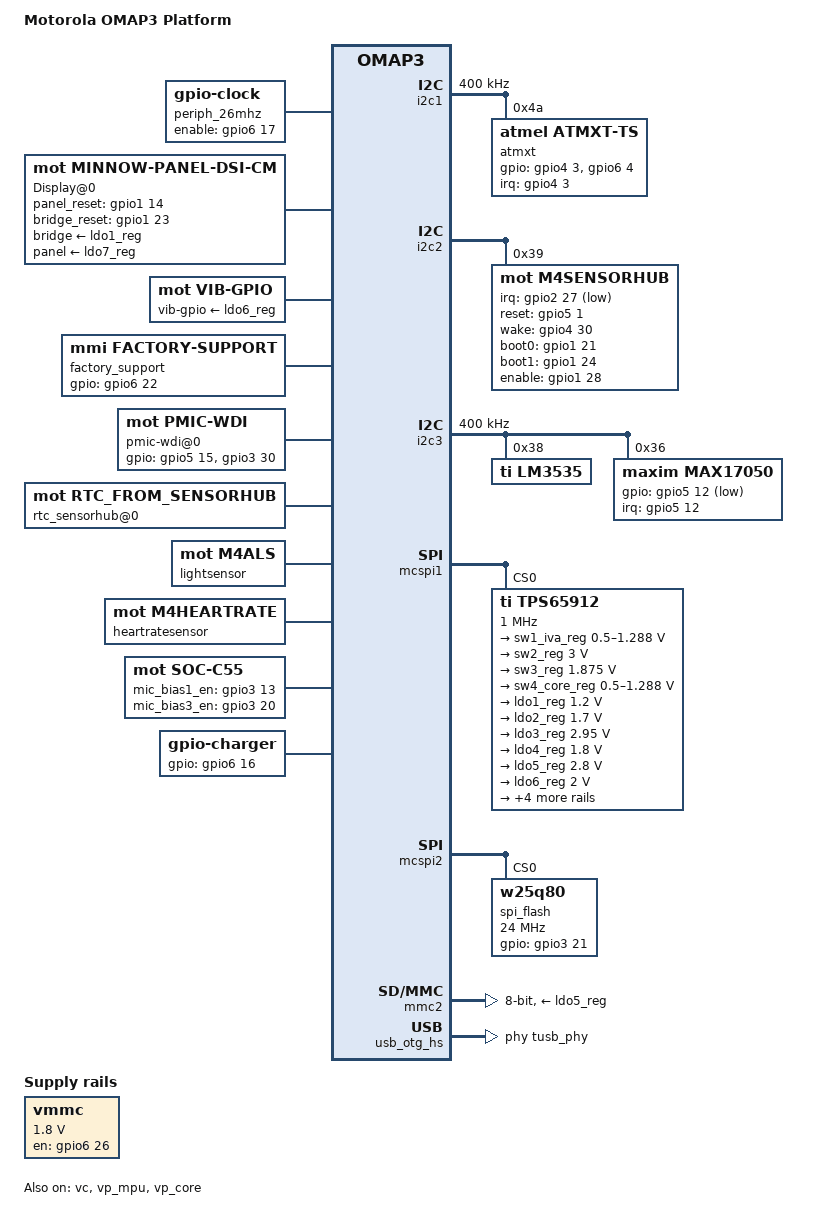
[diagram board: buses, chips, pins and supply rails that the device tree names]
/*
 * Copyright (C) 2013 Motorola Mobility LLC
 *
 * This program is free software; you can redistribute it and/or modify
 * it under the terms of the GNU General Public License version 2 as
 * published by the Free Software Foundation.
 */
/* reserve memory for ram_console */
/memreserve/ 0x83000000 0x20000; /* IMAGE_DOWN_LOAD_ADDR */

/include/ "omap36xx.dtsi"

/ {
	model = "Motorola OMAP3 Platform";
	compatible = "mot,omap3-minnow", "ti,omap3";

	ramoops {
		compatible = "ramoops";
		status = "ok";

		android,ramoops-buffer-start = <0x83000000>;
		android,ramoops-buffer-size  = <0x20000>;
		android,ramoops-console-size = <0x20000>;
	};

	cpus {
		cpu@0 {
			device_type = "cpu";
			operating-points = <
				/* kHz    uV */
				300000   975000
				600000  1150000
				800000  1275000
			>;
			cpu0-supply = <&omap_tps65912_dcdc1>;
			/* OPP tolerance in percentage */
			voltage-tolerance = <0>;
			reset-voltage = <1275000>;
		};
	};

	regulators {
		compatible = "simple-bus";

		vmmc: gpio-regulator {
			compatible = "regulator-fixed";

			regulator-min-microvolt = <1800000>;
			regulator-max-microvolt = <1800000>;
			regulator-name = "vmmc";
			gpio = <&gpio6 26 0>;
			startup-delay-us = <70000>;
			enable-active-high;
		};
	};

	/* external 26MHz clock which is controlled by gpio
	 * it's used for both Display Bridge and USB
	 */
	periph_26mhz {
		compatible = "gpio-clock";
		#clock-cells = <0>;
		enable-gpios = <&gpio6 17 0>;  /* GPIO-177, OF_GPIO_ACTIVE_HIGH */
	};

	Display@0 {
		compatible = "mot,minnow-panel-dsi-cm";
		bridge-supply = <&ldo1_reg>;
		panel-supply = <&ldo7_reg>;
		/* 0: MINNOW_PANEL_CM_220X176
		 * 1: MINNOW_PANEL_CM_220X220
		 * 2: MINNOW_PANEL_CM_BRIDGE_320X320
		 */
		id_panel = <2>;
		gpio_panel_reset = <&gpio1 14 0>;       /* RESET gpio-14 */
		gpio_bridge_reset = <&gpio1 23 0>;      /* RESET gpio-23 */
		clk_in = "periph_26mhz";        /* external 26MHz clock */
		/* declare it if ext_te enable */
		//gpio_te = <&gpio1 0 0>;       /* EXT_TE gpio-0 */
		//pins = <0 1 2 3>;             /* DSI Pin config */
		//esd_interval = <0>;           /* ESD_INTERVAL */
		//pixel_clock = <4608>;         /* kHZ = 320*240*60/1000*/
		/* 0: RGB888
		 * 1: RGB666
		 * 2: RGB666_PACKED
		 * 3: RGB565
		 */
		//pixel_format = <1>;
		//hs_clk = <90000000 150000000>;        /* min max*/
		//lp_clk = <7000000 9000000>;   /* min max*/
	};

	c55-ctrl@0 {
		compatible = "ti,c55-ctrl";
		reg = <0 0>;
		gpios = <&gpio3 12 1>, /* IRQ   gpio_ap_int gpio-076 */
			<&gpio3 17 2>; /* gpio_c55_int gpio-81*/
		vddc-supply = <&ldo9_reg>;
		vddldo-supply = <&ldo3_reg>;
	};

	vib-gpio {
		compatible = "mot,vib-gpio";
		vib-gpio-supply = <&ldo6_reg>;
	};

	tusb_phy: tusb-usb@0 {
		compatible = "ti,tusb-usb";
		gpios = <&gpio5 14 0x1>,  /* IRQ gpio-142    GPIOF_DIR_IN */
			<&gpio1 15 0x0>,  /* resetn gpio-15  GPIOF_DIR_OUT|GPIOF_INIT_LOW */
			<&gpio1 16 0x0>,  /* cs gpio-16      GPIOF_DIR_OUT|GPIOF_INIT_LOW */
			<&gpio1 27 0x2>;  /* cs gpio-27      GPIOF_DIR_OUT|GPIOF_INIT_HIGH */
		gpio-names = "tusb-irq",
			     "tusb-resetn",
			     "tusb-cs",
			     "tusb-csn";
		clk_in = "periph_26mhz";  /* external 26MHz clock */
		reg = <0 0>;
	};

	/* Temporary enable factory-cable in device-tree
	 * Should remove it when boot-reason is implemented in boot-loader
	 */
	chosen {
		mmi,factory-cable;
	};
	factory_support {
		compatible = "mmi,factory-support";

		gpios = <&gpio6 22 0x0>; /*gpio-182 GPIOF_DIR_OUT|GPIOF_INIT_LOW */
		gpio-names = "factory_kill_disable";
	};

	pmic-wdi@0 {
		compatible = "mot,pmic-wdi";
		gpios  = <&gpio5 15 0x0>, /* gpio-143 GPIOF_DIR_OUT|GPIOF_INIT_LOW */
			 <&gpio3 30 0x0>; /* gpio-94  GPIOF_DIR_OUT|GPIOF_INIT_LOW */
		gpio-names = "wdi",
			     "sys_reset";
		pinctrl-names = "output", "tristate";
		pinctrl-0 = <&wdi_phy_gpio_mode>;
		pinctrl-1 = <&wdi_phy_safe_mode>;
	};

	rtc_sensorhub@0 {
		compatible = "mot,rtc_from_sensorhub";
	};

	m4sensor {
		compatible = "simple-bus";

		mpu9150 {
			compatible = "mot,m4mpu9150";
		};
		pedometer {
			compatible = "mot,m4pedometer";
		};
		passive {
			compatible = "mot,m4passive";
		};
		gesture {
			compatible = "mot,m4gesture";
		};
		display {
			compatible = "mot,m4display";
		};
		download {
			compatible = "mot,m4download";
		};
		stillmode {
			compatible = "mot,m4stillmode";
		};
		lightsensor {
			compatible = "mot,m4als";
		};
                heartratesensor {
                        compatible = "mot,m4heartrate";
                };

	};

	sound {
		compatible = "mot,omap-soc-c55";
		mot,model = "omap3c55audio";
		mot,mcbsp = <&mcbsp4>;
	};

	soc {

		compatible = "mot,soc-c55";
		mot,mic_bias1_en = <&gpio3 13 0>; /* gpio-077 */
		mot,mic_bias3_en = <&gpio3 20 0>; /* gpio-084 */
	};

	omap_pimic {
		omap_tps65912_dcdc1: omap_vdd1 {
			compatible = "ti,omap-tps65912-dcdc1";
			ti,boot-voltage-micro-volts = <1275000>;
			ti,vp = <&vp_mpu>;
		};

		omap_tps65912_dcdc4: omap_vdd2 {
			compatible = "ti,omap-tps65912-dcdc4";
			ti,boot-voltage-micro-volts = <1200000>;
			ti,vp = <&vp_core>;
		};
	};

	gpio-charger {
		compatible = "gpio-charger";
		pinctrl-names = "default";
		pinctrl-0 = <&charge_startb_pin>;	/* gpio-176 pin */
		gpio = <&gpio6 16 0>;			/* gpio-176 */
		charger-type = <8>;			/* POWER_SUPPLY_TYPE_WIRELESS */
		charger-name = "wireless";
		supplied_to = "max170xx_battery";
		switch-name = "dock";
	};
};

&vc {
	status = "ok";
	ti,i2c-high-speed;
	ti,i2c-pad-load = <3>;
	vc_mpu{
		ti,master-channel;
	};

	vc_core{
		ti,use-master-slave-addr;
	};
};
&vp_mpu {
	status = "ok";
};

&vp_core {
	status = "ok";
};

&i2c1 {
	clock-frequency = <400000>;

	atmxt@4a {
		compatible = "atmel,atmxt-ts";
		reg = <0x4a>;
		interrupt-parent = <&gpio4>;
		interrupts = <3 0>;  /* gpio-99 32 * 3 + 3 */
		wakeup-source;
		gpios = <&gpio4 3 0>, /* IRQ   gpio-099 */
			<&gpio6 4 0>; /* RESET gpio-164*/
		atmel,atmxt-tdat-filename = "atmxt-r2.tdat";
	};
};

&i2c2 {
	m4sensorhub@39 {
		compatible = "mot,m4sensorhub";
		status = "ok";
		reg = <0x39>;

		mot,irq-gpio    = <&gpio2 27 1>; /* gpio-059 */
		mot,reset-gpio  = <&gpio5  1 2>; /* gpio-129 */
		mot,wake-gpio   = <&gpio4 30 0>; /* gpio-126 */
		mot,boot0-gpio  = <&gpio1 21 0>; /* gpio-021 */
		mot,boot1-gpio  = <&gpio1 24 0>; /* gpio-024 */
		mot,enable-gpio = <&gpio1 28 0>; /* gpio-028 */
		mot,fw-filename = "m4sensorhub-p0_minnow.bin";
	};
};

&i2c3 {

	clock-frequency = <400000>;

	lm3535@38 {
		compatible = "ti,lm3535";
		reg = <0x38>;
	};

	max17050@36 {
		compatible = "maxim,max17050";
		reg = <0x36>;
		maxim,rsns-microohm = <10000>;
		pinctrl-names = "default";
		pinctrl-0 = <&cc_alert_pin>;	/* gpio 140 pin */
		gpios = <&gpio5 12 0x11>;	/* gpio-140, GPIOF_DIR_IN|GPIOF_EXPORT */
		gpio-names = "cc-alert";
		interrupt-parent = <&gpio5>;
		interrupts = <12 0>;		/* gpio-140 IRQ */
		maxim,enable_por_init;
		maxim,configuration {
			/* Required properties */
			config		= /bits/ 16 <0x2254>;	/* Tex = 0, TS = Ten = ETHRM = 1,  Aen = 1 */
			full_soc_thresh	= /bits/ 16 <0x5F00>;	/* app note constant */
			design_cap	= /bits/ 16 <662>;	/* in 5uVh/Rsns = 0.5 mAh */
			ichgt_term	= /bits/ 16 <0x0080>;	/* battery attribute */
			learn_cfg	= /bits/ 16 <0x2606>;	/* app note constant */
			filter_cfg	= /bits/ 16 <0x87A4>;	/* app note constant */
			relax_cfg	= /bits/ 16 <0x203B>;	/* Load = 5 mA, dV = 3.7 mV, dT = 6 mins */
			fullcap		= /bits/ 16 <662>;	/* in 5uVh/Rsns = 0.5 mAh */
			fullcapnom	= /bits/ 16 <662>;	/* in 5uVh/Rsns = 0.5 mAh */
			qrtbl00		= /bits/ 16 <0x069A>;	/* battery attribute */
			qrtbl10		= /bits/ 16 <0x0398>;	/* battery attribute */
			qrtbl20		= /bits/ 16 <0x0298>;	/* battery attribute */
			qrtbl30		= /bits/ 16 <0x0296>;	/* battery attribute */
			rcomp0 		= /bits/ 16 <0x003C>;	/* battery attribute */
			tcompc0		= /bits/ 16 <0x231C>;	/* battery attribute */
			maxim,cell-char-tbl = /bits/ 16 <	/* battery attribute */
				0x9f80 0xa030 0xb220 0xb440 0xb890 0xb910
				0xba10 0xba40 0xbf10 0xbf60 0xc2d0 0xc5e0
				0xc640 0xcc90 0xd520 0xd780 0x05d0 0x00e0
				0x01e0 0x03a0 0x08e0 0x1000 0x4000 0x1670
				0x23d0 0x0df0 0x0a70 0x0aa0 0x06f0 0x0790
				0x06b0 0x06b0 0x0100 0x0100 0x0100 0x0100
				0x0100 0x0100 0x0100 0x0100 0x0100 0x0100
				0x0100 0x0100 0x0100 0x0100 0x0100 0x0100
			>;
			/* Optional properties */
			tgain		= /bits/ 16 <0xE71C>;	/* thermistor attribute */
			toff		= /bits/ 16 <0x251A>;	/* thermistor attribute */
		};
		maxim,temp-conv {
			start	= /bits/ 16 <(-20)>;	/* in degrees C */
			result	= /bits/ 16 <
				/* 1/10th C "real" temps corresponding start, start + 1, etc. fuel gauge temps in C */
				(-302) (-271) (-246) (-222) (-202) (-180) (-162) (-147) (-129) (-114)	/* -20 C ... -11 C */
				(-101) (-86)  (-72)  (-59)  (-48)  (-35)  (-23)  (-12)  (-2)   10	/* -10 C ... -1  C */
				22     32     42     51     62     72     82     91     99     110	/*  0  C ...  9  C */
				120    129    138    146    156    165    175    184    192    200	/*  10 C ...  19 C */
				210    220    230    238    247    256    266    275    285    294	/*  20 C ...  29 C */
				303    313    324    333    343    353    364    375    385    395	/*  30 C ...  39 C */
				407    419    430    441    453    466    479    492    505    520	/*  40 C ...  49 C */
				534    548    565    581    597    616    635    654    676    697	/*  50 C ...  59 C */
				721    747    775    800						/*  60 C ...  63 C */
			>;
		};
	};
};

&mcspi1 {

	tps65912 {

		compatible = "ti,tps65912";
		reg = <0>; /* CS 0 */
		spi-max-frequency = <1000000>;
		spi-cs-high;

		register-init-data = <
			0x26 0x49 /* I2C_SPI_CFG: AVS ADDR = 0x13,
					DCDC1, DCDC4 is AVS ctrl */
			0x2d 0x88 /* DISCHARGE1: Enable LDO4, LDO8 */
		>;

		tps_irq_gpio = <0>;

		powerkey_up_irq = <10>;		/* TPS65912_IRQ_GPIO3_R the key down */
		powerkey_down_irq = <11>;	/* TPS65912_IRQ_GPIO3_F the key up */
		powerkey_code = <116>;		/* power key code for android*/

		regulators {
			#address-cells = <1>;
			#size-cells = <0>;

			sw1_iva_reg: regulator@0 {
				reg = <0>;
				regulator-compatible = "DCDC1";
				regulator-name = "DCDC1";
				regulator-min-microvolt = <500000>;
				regulator-max-microvolt = <1287500>;
				regulator-boot-on;
				regulator-always-on;
			};

			sw2_reg: regulator@1 {
				reg = <1>;
				regulator-compatible = "DCDC2";
				regulator-name = "DCDC2";
				regulator-min-microvolt = <3000000>;
				regulator-max-microvolt = <3000000>;
				regulator-boot-on;
				regulator-always-on;
			};

			sw3_reg: regulator@2 {
				reg = <2>;
				regulator-compatible = "DCDC3";
				regulator-name = "DCDC3";
				regulator-min-microvolt = <1875000>;
				regulator-max-microvolt = <1875000>;
				regulator-boot-on;
				regulator-always-on;
			};

			sw4_core_reg: regulator@3 {
				reg = <3>;
				regulator-compatible = "DCDC4";
				regulator-name = "DCDC4";
				regulator-min-microvolt = <500000>;
				regulator-max-microvolt = <1287500>;
				regulator-boot-on;
				regulator-always-on;
			};

			ldo1_reg: regulator@4 {
				reg = <4>;
				regulator-compatible = "LDO1";
				regulator-name = "LDO1";
				regulator-min-microvolt = <1200000>;
				regulator-max-microvolt = <1200000>;
			};

			ldo2_reg: regulator@5 {
				reg = <5>;
				regulator-compatible = "LDO2";
				regulator-name = "LDO2";
				regulator-min-microvolt = <1700000>;
				regulator-max-microvolt = <1700000>;
			};

			ldo3_reg: regulator@6 {
				reg = <6>;
				regulator-compatible = "LDO3";
				regulator-name = "LDO3";
				regulator-min-microvolt = <2950000>;
				regulator-max-microvolt = <2950000>;
			};

			ldo4_reg: regulator@7 {
				reg = <7>;
				regulator-compatible = "LDO4";
				regulator-name = "LDO4";
				regulator-min-microvolt = <1800000>;
				regulator-max-microvolt = <1800000>;
				regulator-always-on;
			};

			ldo5_reg: regulator@8 {
				reg = <8>;
				regulator-compatible = "LDO5";
				regulator-name = "LDO5";
				regulator-min-microvolt = <2800000>;
				regulator-max-microvolt = <2800000>;
			};

			ldo6_reg: regulator@9 {
				reg = <9>;
				regulator-compatible = "LDO6";
				regulator-name = "LDO6";
				regulator-min-microvolt = <2000000>;
				regulator-max-microvolt = <2000000>;
			};

			ldo7_reg: regulator@10 {
				reg = <10>;
				regulator-compatible = "LDO7";
				regulator-name = "LDO7";
				regulator-min-microvolt = <2850000>;
				regulator-max-microvolt = <2850000>;
			};

			ldo8_reg: regulator@11 {
				reg = <11>;
				regulator-compatible = "LDO8";
				regulator-name = "LDO8";
				regulator-min-microvolt = <2800000>;
				regulator-max-microvolt = <2800000>;
				regulator-boot-on;
				regulator-always-on;
			};

			ldo9_reg: regulator@12 {
				reg = <12>;
				regulator-compatible = "LDO9";
				regulator-name = "LDO9";
				regulator-min-microvolt = <1050000>;
				regulator-max-microvolt = <1050000>;
			};

			ldo10_reg: regulator@13 {
				reg = <13>;
				regulator-compatible = "LDO10";
				regulator-name = "LDO10";
				regulator-min-microvolt = <2500000>;
				regulator-max-microvolt = <2500000>;
				regulator-always-on;
			};
		};
	};
};


&mcspi2 {
	spi_flash: m25p80@0 {
		compatible = "w25q80";
		reg = <0>; /* CS 0 */
		spi-max-frequency = <24000000>;
		gpios = <&gpio3 21 0x2>; /* core_enb gpio-85 GPIOF_DIR_OUT | GPIOF_INIT_HIGH */
		pinctrl-names = "off", "on";
		pinctrl-0 = <&spi_flash_pins_off>;
		pinctrl-1 = <&spi_flash_pins_on>;
		m25p,fast-read;
	};
};

&omap3_pmx_core {
	pinctrl-names = "default";
	pinctrl-0 = <
		&board_pins
		&audio_gpio_pins
		&usb_phy_pins
	>;

	board_pins: pinmux_board_pins {
		pinctrl-single,pins = <
			0x05a 0x004	/* GPMC_A9, MODE4 | OUTPUT */
			0x08e 0x104	/* GPMC_CLK, MODE4 | INPUT */
			0x0a0 0x002	/* GPMC_WAIT2, MODE2 | OUTPUT */
			0x0a2 0x102	/* GPMC_WAIT3, MODE2 | INPUT */
			0x0ac 0x001	/* DSS_DATA0, MODE1 | OUTPUT */
			0x0ae 0x001	/* DSS_DATA1, MODE1 | OUTPUT */
			0x0b0 0x001	/* DSS_DATA2, MODE1 | OUTPUT */
			0x0b2 0x001	/* DSS_DATA3, MODE1 | OUTPUT */
			0x0b8 0x104	/* DSS_DATA6, MODE4 | INPUT */
			0x0c2 0x004	/* DSS_DATA11, MODE4 | OUTPUT */
			0x0c6 0x004	/* DSS_DATA13, MODE4 | OUTPUT */
			0x0dc 0x004	/* CAM_HS, MODE4 | OUTPUT */
			0x0ea 0x004	/* MUXCAM_D2, MODE4 | OUTPUT */
			0x0e4 0x004	/* CAM_FLD, MODE4 | OUTPUT */
			0x0e6 0x11c	/* CAM_D0, MODE4 | INPUT_PULLUP */
			0x122 0x004	/* SIM_CLK, MODE4 | OUTPUT */
			0x124 0x104	/* SIM_PWRCTRL, MODE4 | INPUT */
			0x144 0x100	/* UART2_CTS, MODE0  | OUTPUT */
			0x146 0x000	/* UART2_RTS, MODE0 | OUTPUT */
			0x148 0x000	/* UART2_TX, MODE0 | INPUT */
			0x14a 0x100	/* UART2_RX, MODE0 | INPUT */
			0x14c 0x000	/* UART1_TX, MODE0 | OUTPUT */
			0x14e 0x000	/* UART1_RTS, MODE0 | OUTPUT */
			0x150 0x100	/* UART1_CTS, MODE0 | INPUT */
			0x152 0x100	/* UART1_RX, MODE0 | INPUT */
			0x154 0x100	/* MCBSP4_CLKX, MODE0 | INPUT */
			0x156 0x100	/* MCBSP4_DR, MODE0 | INPUT */
			0x158 0x000	/* MCBSP4_DX, MODE0 | OUTPUT */
			0x15a 0x118	/* MCBSP4_FSX,MODE0 | INPUT_PULLUP */
			0x168 0x104	/* MCBSP1_CLKX, MODE4 | INPUT */
			0x16c 0x004	/* UART3_RTS_SD, MODE4 | OUTPUT */
			0x18e 0x118	/* I2C2_SCL, MODE0 | INPUT_PULLUP */
			0x190 0x118	/* I2C2_SDA, MODE0 | INPUT_PULLUP */
			0x192 0x118	/* I2C3_SCL, MODE0 | INPUT_PULLUP */
			0x194 0x118	/* I2C3_SDA, MODE0 | INPUT_PULLUP */
			0x198 0x100	/* MCSPI1_CLK, MODE0 | INPUT */
			0x19a 0x000	/* MCSPI1_SIMO, MODE0 | OUTPUT */
			0x19c 0x100	/* MCSPI1_SOMI, MODE0 | INPUT */
			0x19e 0x000	/* MCSPI1_CS0, MODE0 | OUTPUT */
			0x1a0 0x000	/* MCSPI1_CS1, MODE0 | OUTPUT */
			0x1a4 0x004	/* MCSPI1_CS3, MODE4 | OUTPUT */
			0x1ae 0x004	/* MCSPI2_CS1, MODE4 | OUTPUT */
			0x1b0 0x104	/* SYS_NIRQ, MODE4 | INPUT  */
			0x1b2 0x004	/* SYS_CLKOUT2, MODE4 | OUTPUT  */
			0x5a8 0x11a	/* ETK_CLK, MODE2 | INPUT_PULLUP */
			0x5aa 0x11a	/* ETK_CTL, MODE2 | INPUT_PULLUP */
			0x5b2 0x11a	/* ETK_D3, MODE2 | INPUT_PULLUP */
			0x5b4 0x11a	/* ETK_D4, MODE2 | INPUT_PULLUP */
			0x5b6 0x11a	/* ETK_D5, MODE2 | INPUT_PULLUP */
			0x5b8 0x11a	/* ETK_D6, MODE2 | INPUT_PULLUP */
			0x5ba 0x004	/* ETK_D7, MODE4 | OUTPUT */
			0x5bc 0x004	/* ETK_D8, MODE4 | OUTPUT */
			0x5c0 0x004	/* ETK_D10, MODE4 | OUTPUT */
			0x5c8 0x004	/* ETK_D14, MODE4 | OUTPUT */
		>;
	};

	audio_gpio_pins: pinmux_audio_gpio_pins {
		pinctrl-single,pins = <
			0x0ba 0x004	/* DSS_DATA7, MODE4 | OUTPUT */
			0x0c8 0x004	/* DSS_DATA14, MODE4 | OUTPUT */
		>;
	};

	usb_phy_pins: pinmux_usb_phy_pins {
		pinctrl-single,pins = <
			0x140 0x104     /* MCBSP3_CLKX, MODE4 (GPIO-142) | INPUT */
			0x5ae 0x004     /* ETK_D1, MODE4 (GPIO_15) | OUTPUT */
			0x5b0 0x004     /* ETK_D2, MODE4 (GPIO_16) | OUTPUT */
			0x5c6 0x004     /* EDK_D13, MODE4 (GPIO_27) | OUTPUT */
		>;
	};

	wdi_phy_gpio_mode: pinmux_wdi_phy_gpio_mode {
		pinctrl-single,pins = <
			0x142 0x004 /* MCBSP3_FSX | OUTPUT */
		>;
	};

	wdi_phy_safe_mode: pinmux_wdi_phy_safe_mode {
		pinctrl-single,pins = <
			0x142 0x10F /* MCBSP3_FSX | INPUT | PULLDOWN */
		>;
	};

	spi_flash_pins_on: pinmux_m25p_pins_on {
		pinctrl-single,pins = <
			0x0ca 0x004	/* DSS_DATA15, MODE4 | OUTPUT */
			0x1a6 0x100	/* MCSPI2_CLK, MODE0 | INPUT */
			0x1a8 0x000	/* MCSPI2_SIMO, MODE0 | OUTPUT */
			0x1aa 0x100	/* MCSPI2_SOMI, MODE0 | INPUT */
			0x1ac 0x000	/* MCSPI2_CS0, MODE0 | OUTPUT */
		>;
	};

	spi_flash_pins_off: pinmux_m25p_pins_off {
		pinctrl-single,pins = <
			0x0ca 0x107	/* DSS_DATA15, MODE7 (SAFE) | INPUT */
			0x1a6 0x107	/* MCSPI2_CLK, MODE7 (SAFE) | INPUT */
			0x1a8 0x107	/* MCSPI2_SIMO, MODE7 (SAFE) | INPUT */
			0x1aa 0x107	/* MCSPI2_SOMI, MODE7 (SAFE) | INPUT */
			0x1ac 0x107	/* MCSPI2_CS0, MODE7 (SAFE) | INPUT */
		>;
	};

	cc_alert_pin: pinmax_cc_alert_pin {
		pinctrl-single,pins = <
			0x13c 0x11c	/* MCBSP3_DX, MODE4 | INPUT | INPUT_PULLUP */
		>;
	};

	charge_startb_pin: pinmax_charge_startb_pin {
		pinctrl-single,pins = <
			0x1a2 0x104     /* MCSPI1_CS2, MODE4 | INPUT */
		>;
	};
};

&omap3_pmx_wkup{
	pinctrl-names = "default";
	pinctrl-0 = <&wkup_pins>;

	wkup_pins: pinmux_wakeup_pins {
		pinctrl-single,pins = <
			0x01a 0x10c     /* SYS_CLKOUT1, MODE4 | INPUT_PULLDOWN */
			0x05a 0x004     /* GPIO_129, MODE4 | OUTPUT */
		>;
	};
};

/* leave gpio bank interface clocks on during suspend
 * to avoid race condition in gpio_irq_handler */
&gpio1 {
	ti,no_idle_on_suspend;
};

&gpio2 {
	ti,no_idle_on_suspend;
};

&gpio3 {
	ti,no_idle_on_suspend;
};

&gpio4 {
	ti,no_idle_on_suspend;
};

&gpio5 {
	ti,no_idle_on_suspend;
};

&gpio6 {
	ti,no_idle_on_suspend;
};

/* external */
&mmc1 {
	status = "disabled";
};

/* internal */
&mmc2 {
	ti,non-removable;
	bus-width = <8>;
	vmmc-supply = <&ldo5_reg>;
	vmmc_aux-supply = <&sw3_reg>;
};

/* wireless */
&mmc3 {
	ti,non-removable;
	cap-power-off-card;
	bus-width = <4>;
	vmmc-supply = <&vmmc>;
	wl_host_wake_gpio = <10>;
	status = "disabled";
};

&usb_otg_hs {
	interface-type = <0>;
	usb-phy = <&tusb_phy>;
	mode = <3>;
	power = <50>;

};

&uart1 {
	flags = <0x00200000>;
};

&uart2 {
	flags = <0x00200000>;
};
